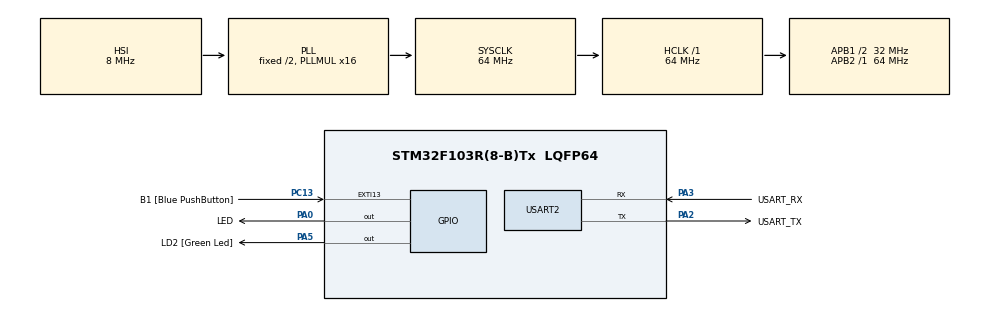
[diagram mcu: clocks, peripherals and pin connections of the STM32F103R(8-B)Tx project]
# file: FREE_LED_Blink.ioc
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FREERTOS.Tasks01=defaultTask,24,128,StartDefaultTask,Default,NULL,Dynamic,NULL,NULL;Button_push,8,128,StartTask02,Default,NULL,Dynamic,NULL,NULL;Toggle_LED,8,128,StartTask03,Default,NULL,Dynamic,NULL,NULL
Mcu.Family=STM32F1
Mcu.Name=STM32F103R(8-B)Tx
Mcu.Package=LQFP64
NVIC.EXTI15_10_IRQn=true\:5\:0\:false\:false\:true\:true\:true\:true\:true
NVIC.PriorityGroup=NVIC_PRIORITYGROUP_4
PA0-WKUP.GPIO_Label=LED
PA0-WKUP.Signal=GPIO_Output
PA13.GPIO_Label=TMS
PA13.Mode=Serial_Wire
PA13.Signal=SYS_JTMS-SWDIO
PA14.GPIO_Label=TCK
PA14.Mode=Serial_Wire
PA14.Signal=SYS_JTCK-SWCLK
PA2.GPIO_Label=USART_TX
PA2.GPIO_Mode=GPIO_MODE_AF_PP
PA2.GPIO_PuPd=GPIO_NOPULL
PA2.GPIO_Speed=GPIO_SPEED_FREQ_LOW
PA2.Mode=Asynchronous
PA2.Signal=USART2_TX
PA3.GPIO_Label=USART_RX
PA3.GPIO_Mode=GPIO_MODE_AF_PP
PA3.GPIO_PuPd=GPIO_NOPULL
PA3.GPIO_Speed=GPIO_SPEED_FREQ_LOW
PA3.Mode=Asynchronous
PA3.Signal=USART2_RX
PA5.GPIO_Label=LD2 [Green Led]
PA5.GPIO_ModeDefaultOutputPP=GPIO_MODE_OUTPUT_PP
PA5.GPIO_PuPd=GPIO_NOPULL
PA5.GPIO_Speed=GPIO_SPEED_FREQ_LOW
PA5.Signal=GPIO_Output
PB3.GPIO_Label=SWO
PB3.Signal=SYS_JTDO-TRACESWO
PC13-TAMPER-RTC.GPIO_Label=B1 [Blue PushButton]
PC13-TAMPER-RTC.GPIO_ModeDefaultEXTI=GPIO_MODE_IT_RISING
PC13-TAMPER-RTC.GPIO_PuPd=GPIO_NOPULL
PC13-TAMPER-RTC.Signal=GPXTI13
PC14-OSC32_IN.Signal=RCC_OSC32_IN
PC15-OSC32_OUT.Signal=RCC_OSC32_OUT
PD0-OSC_IN.Signal=RCC_OSC_IN
PD1-OSC_OUT.Signal=RCC_OSC_OUT
ProjectManager.HeapSize=0x200
ProjectManager.StackSize=0x400
ProjectManager.TargetToolchain=STM32CubeIDE
RCC.AHBFreq_Value=64000000
RCC.APB1CLKDivider=RCC_HCLK_DIV2
RCC.APB1Freq_Value=32000000
RCC.APB1TimFreq_Value=64000000
RCC.APB2Freq_Value=64000000
RCC.APB2TimFreq_Value=64000000
RCC.HCLKFreq_Value=64000000
RCC.PLLMUL=RCC_PLL_MUL16
RCC.RTCClockSelection=RCC_RTCCLKSOURCE_LSE
RCC.SYSCLKFreq_VALUE=64000000
RCC.SYSCLKSource=RCC_SYSCLKSOURCE_PLLCLK
RCC.USBFreq_Value=64000000
USART2.VirtualMode=VM_ASYNC
VP_FREERTOS_VS_CMSIS_V2.Mode=CMSIS_V2
board=NUCLEO-F103RB

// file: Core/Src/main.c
/* USER CODE BEGIN Header */
/**
 ******************************************************************************
 * @file           : main.c
 * @brief          : Main program body
 ******************************************************************************
 * @attention
 *
 * Copyright (c) 2025 STMicroelectronics.
 * All rights reserved.
 *
 * This software is licensed under terms that can be found in the LICENSE file
 * in the root directory of this software component.
 * If no LICENSE file comes with this software, it is provided AS-IS.
 *
 ******************************************************************************
 */
/* USER CODE END Header */
#include "main.h"
#include "cmsis_os.h"

UART_HandleTypeDef huart2;

/* Definitions for defaultTask */
osThreadId_t defaultTaskHandle;
const osThreadAttr_t defaultTask_attributes = {
  .name = "defaultTask",
  .stack_size = 128 * 4,
  .priority = (osPriority_t) osPriorityNormal,
};
/* Definitions for Button_push */
osThreadId_t Button_pushHandle;
const osThreadAttr_t Button_push_attributes = {
  .name = "Button_push",
  .stack_size = 128 * 4,
  .priority = (osPriority_t) osPriorityLow,
};
/* Definitions for Toggle_LED */
osThreadId_t Toggle_LEDHandle;
const osThreadAttr_t Toggle_LED_attributes = {
  .name = "Toggle_LED",
  .stack_size = 128 * 4,
  .priority = (osPriority_t) osPriorityLow,
};
/* USER CODE BEGIN PV */
uint8_t transmit;
volatile int gTimerCnt;
volatile int stoptime;
int state[8];
/* USER CODE END PV */

void SystemClock_Config(void);
static void MX_GPIO_Init(void);
static void MX_USART2_UART_Init(void);
void StartDefaultTask(void *argument);
void StartTask02(void *argument);
void StartTask03(void *argument);

/* USER CODE BEGIN 0 */
#ifdef __GNUC__
/* With GCC, small printf (option LD Linker->Libraries->Small printf
 set to 'Yes') calls __io_putchar() */
#define PUTCHAR_PROTOTYPE int __io_putchar(int ch)
#else
#define PUTCHAR_PROTOTYPE int fputc(int ch, FILE *f)
#endif /* __GNUC__ */

/**
 * @brief  Retargets the C library printf function to the USART.
 * @param  None
 * @retval None
 */
PUTCHAR_PROTOTYPE {
	/* Place your implementation of fputc here */
	/* e.g. write a character to the USART1 and Loop until the end of transmission */
	if (ch == '\n')
		HAL_UART_Transmit(&huart2, (uint8_t*) "\r", 1, 0xFFFF);
	HAL_UART_Transmit(&huart2, (uint8_t*) &ch, 1, 0xFFFF);

	return ch;
}
/* USER CODE END 0 */

int main(void)
{

  /* MCU Configuration--------------------------------------------------------*/

  /* Reset of all peripherals, Initializes the Flash interface and the Systick. */
  HAL_Init();

  /* Configure the system clock */
  SystemClock_Config();

  /* Initialize all configured peripherals */
  MX_GPIO_Init();
  MX_USART2_UART_Init();

  /* Init scheduler */
  osKernelInitialize();

  /* Create the thread(s) */
  /* creation of defaultTask */
  defaultTaskHandle = osThreadNew(StartDefaultTask, NULL, &defaultTask_attributes);

  /* creation of Button_push */
  Button_pushHandle = osThreadNew(StartTask02, NULL, &Button_push_attributes);

  /* creation of Toggle_LED */
  Toggle_LEDHandle = osThreadNew(StartTask03, NULL, &Toggle_LED_attributes);

  /* Start scheduler */
  osKernelStart();

  /* We should never get here as control is now taken by the scheduler */

  /* Infinite loop */
	while (1) {

	}
}

void SystemClock_Config(void)
{
  RCC_OscInitTypeDef RCC_OscInitStruct = {0};
  RCC_ClkInitTypeDef RCC_ClkInitStruct = {0};

  /** Initializes the RCC Oscillators according to the specified parameters
  * in the RCC_OscInitTypeDef structure.
  */
  RCC_OscInitStruct.OscillatorType = RCC_OSCILLATORTYPE_HSI;
  RCC_OscInitStruct.HSIState = RCC_HSI_ON;
  RCC_OscInitStruct.HSICalibrationValue = RCC_HSICALIBRATION_DEFAULT;
  RCC_OscInitStruct.PLL.PLLState = RCC_PLL_ON;
  RCC_OscInitStruct.PLL.PLLSource = RCC_PLLSOURCE_HSI_DIV2;
  RCC_OscInitStruct.PLL.PLLMUL = RCC_PLL_MUL16;
  if (HAL_RCC_OscConfig(&RCC_OscInitStruct) != HAL_OK)
  {
    Error_Handler();
  }

  /** Initializes the CPU, AHB and APB buses clocks
  */
  RCC_ClkInitStruct.ClockType = RCC_CLOCKTYPE_HCLK|RCC_CLOCKTYPE_SYSCLK
                              |RCC_CLOCKTYPE_PCLK1|RCC_CLOCKTYPE_PCLK2;
  RCC_ClkInitStruct.SYSCLKSource = RCC_SYSCLKSOURCE_PLLCLK;
  RCC_ClkInitStruct.AHBCLKDivider = RCC_SYSCLK_DIV1;
  RCC_ClkInitStruct.APB1CLKDivider = RCC_HCLK_DIV2;
  RCC_ClkInitStruct.APB2CLKDivider = RCC_HCLK_DIV1;

  if (HAL_RCC_ClockConfig(&RCC_ClkInitStruct, FLASH_LATENCY_2) != HAL_OK)
  {
    Error_Handler();
  }
}

static void MX_USART2_UART_Init(void)
{

  huart2.Instance = USART2;
  huart2.Init.BaudRate = 115200;
  huart2.Init.WordLength = UART_WORDLENGTH_8B;
  huart2.Init.StopBits = UART_STOPBITS_1;
  huart2.Init.Parity = UART_PARITY_NONE;
  huart2.Init.Mode = UART_MODE_TX_RX;
  huart2.Init.HwFlowCtl = UART_HWCONTROL_NONE;
  huart2.Init.OverSampling = UART_OVERSAMPLING_16;
  if (HAL_UART_Init(&huart2) != HAL_OK)
  {
    Error_Handler();
  }

}

static void MX_GPIO_Init(void)
{
  GPIO_InitTypeDef GPIO_InitStruct = {0};

  /* GPIO Ports Clock Enable */
  __HAL_RCC_GPIOC_CLK_ENABLE();
  __HAL_RCC_GPIOD_CLK_ENABLE();
  __HAL_RCC_GPIOA_CLK_ENABLE();
  __HAL_RCC_GPIOB_CLK_ENABLE();

  /*Configure GPIO pin Output Level */
  HAL_GPIO_WritePin(GPIOA, LED_Pin|LD2_Pin, GPIO_PIN_RESET);

  /*Configure GPIO pin : B1_Pin */
  GPIO_InitStruct.Pin = B1_Pin;
  GPIO_InitStruct.Mode = GPIO_MODE_IT_RISING;
  GPIO_InitStruct.Pull = GPIO_NOPULL;
  HAL_GPIO_Init(B1_GPIO_Port, &GPIO_InitStruct);

  /*Configure GPIO pins : LED_Pin LD2_Pin */
  GPIO_InitStruct.Pin = LED_Pin|LD2_Pin;
  GPIO_InitStruct.Mode = GPIO_MODE_OUTPUT_PP;
  GPIO_InitStruct.Pull = GPIO_NOPULL;
  GPIO_InitStruct.Speed = GPIO_SPEED_FREQ_LOW;
  HAL_GPIO_Init(GPIOA, &GPIO_InitStruct);

  /* EXTI interrupt init*/
  HAL_NVIC_SetPriority(EXTI15_10_IRQn, 5, 0);
  HAL_NVIC_EnableIRQ(EXTI15_10_IRQn);

}

void StartDefaultTask(void *argument)
{
	for (;;) {
		osDelay(1);
	}
}

void StartTask02(void *argument)
{
  /* USER CODE BEGIN StartTask02 */
	/* Infinite loop */
	  const TickType_t debounce = pdMS_TO_TICKS(50); // 50ms 디바운스
	  GPIO_PinState lastStable = HAL_GPIO_ReadPin(B1_GPIO_Port, B1_Pin); // 버튼을 눌렀을때의 마지막 스테이터스 저장 변수 선언
	  TickType_t changeTick = 0; // 시간 변화 저장 변수
	  uint8_t task3Paused = 0; // task03 퍼즈 시 시간 저장 변수

	  for(;;)
	  {
	    GPIO_PinState now = HAL_GPIO_ReadPin(B1_GPIO_Port, B1_Pin);

	    if (now != lastStable)
	    {
	      if (changeTick == 0) changeTick = xTaskGetTickCount();

	      if ((xTaskGetTickCount() - changeTick) >= debounce) {
	        lastStable = now;
	        changeTick = 0;

	        // ★ Nucleo PC13: 액티브-로우 (눌림 == GPIO_PIN_RESET)
	        if (lastStable == GPIO_PIN_RESET)
	        {           // 버튼 '눌림' 확정 → Task3 잠시 멈춤
	          if (!task3Paused)
	          {
	            osThreadSuspend(Toggle_LEDHandle);
	            task3Paused = 1;
	            printf("Task3 PAUSE\r\n");
	            HAL_GPIO_WritePin(LED_GPIO_Port, LED_Pin, 1);
	          }
	        }
	        else
	        {                                      // 버튼 '뗌' 확정 → Task3 재개
	          if (task3Paused)
	          {
	            osThreadResume(Toggle_LEDHandle);
	            task3Paused = 0;
	            printf("Task3 RESUME\r\n");
	            HAL_GPIO_WritePin(LED_GPIO_Port, LED_Pin, 0);
	          }
	        }
	      }
	    }
	    else
	    {
	      changeTick = 0; // 변화 없음
	    }

	    osDelay(5); // 폴링 주기
	  }
  /* USER CODE END StartTask02 */
}

void StartTask03(void *argument)
{
  /* USER CODE BEGIN StartTask03 */
	/* Infinite loop */
	for (;;) {
		HAL_GPIO_TogglePin(LD2_GPIO_Port, LD2_Pin);
		printf("HONGMIN\r\n");
		osDelay(200);
	}
  /* USER CODE END StartTask03 */
}

void Error_Handler(void)
{
	__disable_irq();
	while (1) {
	}
}
